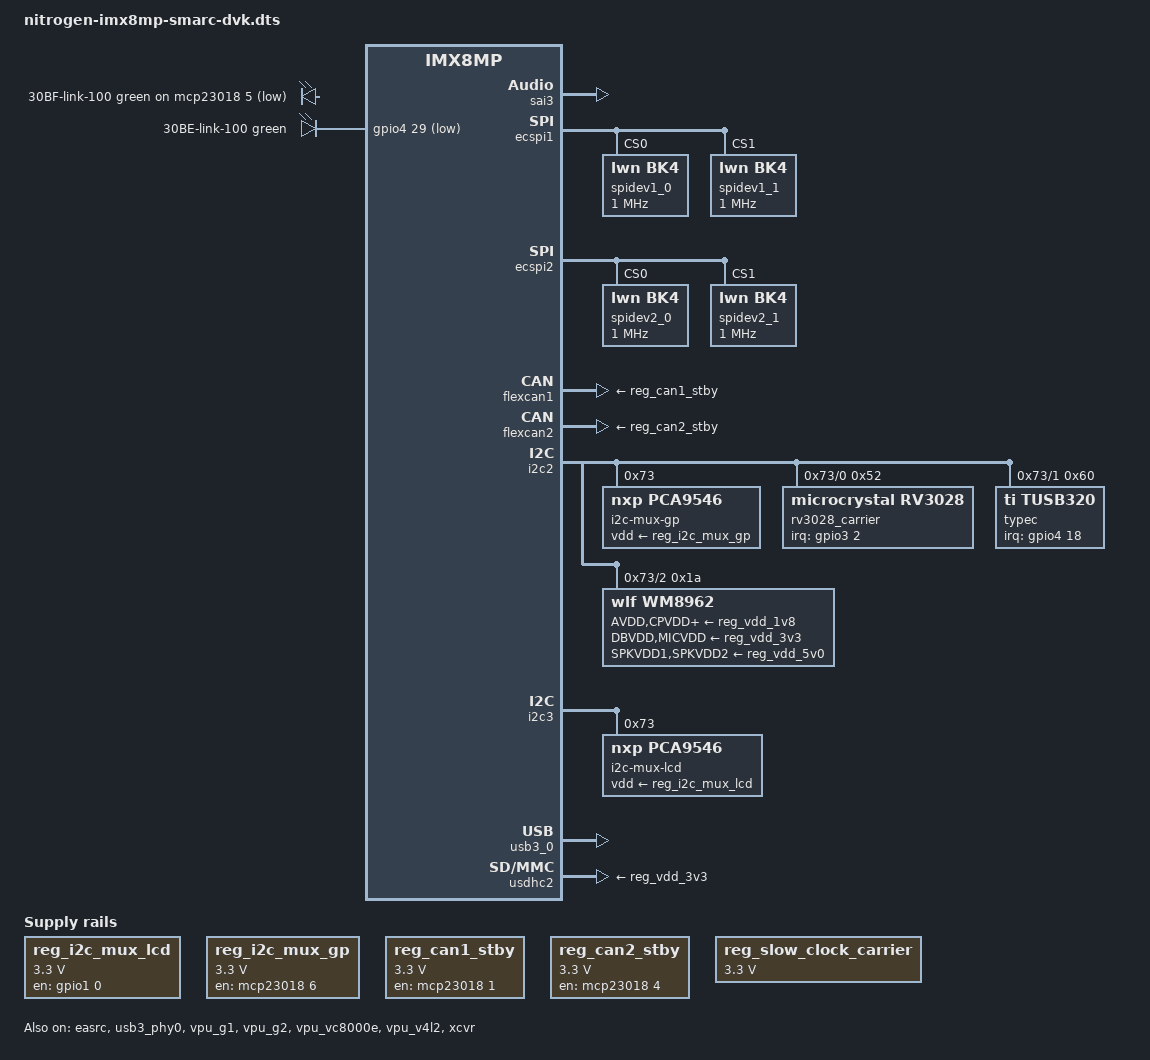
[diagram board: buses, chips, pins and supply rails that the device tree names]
// SPDX-License-Identifier: (GPL-2.0+ OR MIT)
/*
 * Copyright 2023 Ezurio LLC
 */

/dts-v1/;

#include <dt-bindings/usb/pd.h>
#include <dt-bindings/leds/common.h>

#include "nitrogen-imx8mp-smarc.dtsi"

/ {

	aliases {
		rtc0 = &rv3028_carrier;
		rtc1 = &snvs_rtc;
	};

	led-controller {
		compatible = "gpio-leds";
		pinctrl-names = "default";
		pinctrl-0 = <&pinctrl_leds>;

		led-0 {
			label = "30BF-link-100";
			function = LED_FUNCTION_STATUS;
			color = <LED_COLOR_ID_GREEN>;
			gpios = <&mcp23018 5 GPIO_ACTIVE_LOW>;
			default-state = "off";
			linux,default-trigger = "stmmac-0:07:100Mbps";
		};

		led-1 {
			label = "30BE-link-100";
			function = LED_FUNCTION_STATUS;
			color = <LED_COLOR_ID_GREEN>;
			gpios = <&gpio4 29 GPIO_ACTIVE_LOW>;
			default-state = "off";
			linux,default-trigger = "30be0000.ethernet-1:07:100Mbps";
		};
	};

	reg_i2c_mux_lcd: regulator-i2c-mux-lcd {
		compatible = "regulator-fixed";
		regulator-name = "reg_i2c_mux_lcd";

		regulator-min-microvolt = <3300000>;
		regulator-max-microvolt = <3300000>;

		pinctrl-names = "default";
		pinctrl-0 = <&pinctrl_i2c_mux_lcd>;
		gpio = <&gpio1 0 GPIO_ACTIVE_HIGH>;
		enable-active-high;
	};

	reg_i2c_mux_gp: regulator-i2c-mux-gp {
		compatible = "regulator-fixed";
		regulator-name = "reg_i2c_mux_gp";

		regulator-min-microvolt = <3300000>;
		regulator-max-microvolt = <3300000>;

		gpio = <&mcp23018 6 GPIO_ACTIVE_HIGH>;
		enable-active-high;
	};

	reg_can1_stby: regulator-can1-stby {
		compatible = "regulator-fixed";
		regulator-name = "can1-stby";

		regulator-min-microvolt = <3300000>;
		regulator-max-microvolt = <3300000>;

		gpio = <&mcp23018 1 GPIO_ACTIVE_HIGH>;
		enable-active-high;
	};

	reg_can2_stby: regulator-can2-stby {
		compatible = "regulator-fixed";
		regulator-name = "can2-stby";

		regulator-min-microvolt = <3300000>;
		regulator-max-microvolt = <3300000>;

		gpio = <&mcp23018 4 GPIO_ACTIVE_HIGH>;
		enable-active-high;
	};

	reg_slow_clock_carrier: regulator-slow-clock-carrier {
		compatible = "regulator-fixed-clock";

		regulator-name = "reg_slow_clock_carrier";
		regulator-min-microvolt = <3300000>;
		regulator-max-microvolt = <3300000>;

		clocks = <&rv3028_carrier>;

		startup-delay-us = <1000>;
	};

	sound-wm8962 {
		compatible = "fsl,imx-audio-wm8962";
		audio-codec = <&wm8962>;
		audio-cpu = <&sai3>;
		audio-routing =
			"Headphone Jack", "HPOUTL",
			"Headphone Jack", "HPOUTR",
			"Ext Spk", "SPKOUTL",
			"Ext Spk", "SPKOUTR",
			"AMIC", "MICBIAS",
			"IN1R", "AMIC",
			"IN2R", "AMIC",
			"IN3L", "AMIC",
			"IN3R", "AMIC";
		codec-master;
		model = "wm8962-audio";
	};
};

&sai3 {
	status = "okay";
};

&easrc {
	fsl,asrc-rate  = <48000>;
	status = "okay";
};

&ecspi1 {
	status = "okay";

	spidev1_0: spi@0 {
		reg = <0>;
		compatible = "lwn,bk4";
		spi-max-frequency = <1000000>;
	};

	spidev1_1: spi@1 {
		reg = <1>;
		compatible = "lwn,bk4";
		spi-max-frequency = <1000000>;
	};
};

&ecspi2 {
	status = "okay";

	spidev2_0: spi@0 {
		reg = <0>;
		compatible = "lwn,bk4";
		spi-max-frequency = <1000000>;
	};

	spidev2_1: spi@1 {
		reg = <1>;
		compatible = "lwn,bk4";
		spi-max-frequency = <1000000>;
	};
};

&flexcan1 {
	xceiver-supply = <&reg_can1_stby>;
	status = "okay";
};

&flexcan2 {
	xceiver-supply = <&reg_can2_stby>;
	status = "okay";
};

/* I2C_GP */
&i2c2 {
	status = "okay";

	i2c-mux-gp@73 {
		compatible = "nxp,pca9546";
		reg = <0x73>;

		vdd-supply = <&reg_i2c_mux_gp>;

		#address-cells = <1>;
		#size-cells = <0>;

		i2c_gp_a: i2c2@0 {
			reg = <0>;
			#address-cells = <1>;
			#size-cells = <0>;

			rv3028_carrier: rv3028-carrier@52 {
				compatible = "microcrystal,rv3028";
				reg = <0x52>;

				pinctrl-names = "default";
				pinctrl-0 = <&pinctrl_rv3028_carrier>;
				interrupts-extended = <&gpio3 2 IRQ_TYPE_LEVEL_LOW>;
				interrupt-names = "irq";

				wakeup-source;
				backup-switchover-dsm;
				#clock-cells = <0>;
			};
		};

		i2c_gp_b: i2c2@1 {
			reg = <1>;
			#address-cells = <1>;
			#size-cells = <0>;

			typec: typec@60 {
				compatible = "ti,tusb320";
				reg = <0x60>;
				pinctrl-names = "default";
				pinctrl-0 = <&pinctrl_tusb320>;
				interrupts-extended = <&gpio4 18 IRQ_TYPE_LEVEL_LOW>;
			};
		};

		i2c_gp_c: i2c2@2 {
			reg = <2>;
			#address-cells = <1>;
			#size-cells = <0>;

			wm8962: codec@1a {
				#sound-dai-cells = <0>;
				AVDD-supply = <&reg_vdd_1v8>;
				CPVDD-supply = <&reg_vdd_1v8>;
				DBVDD-supply = <&reg_vdd_3v3>;
				DCVDD-supply = <&reg_vdd_1v8>;
				MICVDD-supply = <&reg_vdd_3v3>;
				PLLVDD-supply = <&reg_vdd_1v8>;
				SPKVDD1-supply = <&reg_vdd_5v0>;
				SPKVDD2-supply = <&reg_vdd_5v0>;
				clocks = <&audio_blk_ctrl IMX8MP_CLK_AUDIOMIX_SAI3_MCLK1>;
				compatible = "wlf,wm8962";
				gpio-cfg = <
					0x0000
					0x0000
					0x0000
					0x0000
					0x8081
					0x8095
				>;
				reg = <0x1a>;
			};
		};

		i2c_gp_d: i2c2@3 {
			reg = <3>;
			#address-cells = <1>;
			#size-cells = <0>;
		};
	};
};

/* I2C_LCD */
&i2c3 {
	status = "okay";

	i2c-mux-lcd@73 {
		compatible = "nxp,pca9546";
		reg = <0x73>;

		vdd-supply = <&reg_i2c_mux_lcd>;

		#address-cells = <1>;
		#size-cells = <0>;

		i2c_lcd_a: i2c3@0 {
			/* EDP0 */
			reg = <0>;

			#address-cells = <1>;
			#size-cells = <0>;
		};

		i2c_lcd_b: i2c3@1 {
			/* EDP1 */
			reg = <1>;

			#address-cells = <1>;
			#size-cells = <0>;
		};

		i2c_lcd_c: i2c3@2 {
			/* DSI0 */
			reg = <2>;

			#address-cells = <1>;
			#size-cells = <0>;
		};

		i2c_lcd_d: i2c3@3 {
			/* DSI1 */
			reg = <3>;

			#address-cells = <1>;
			#size-cells = <0>;
		};
	};
};

&iomuxc {
	pinctrl_tusb320: tusb320-grp {
		fsl,pins = <
			MX8MP_IOMUXC_SAI1_TXD6__GPIO4_IO18	0x1c0
		>;
	};

	pinctrl_leds: ledsgrp {
		fsl,pins = <
			MX8MP_IOMUXC_SAI3_RXC__GPIO4_IO29	0x100
		>;
	};

	pinctrl_i2c_mux_lcd: i2c-mux-lcd-grp {
		fsl,pins = <
			MX8MP_IOMUXC_GPIO1_IO00__GPIO1_IO00	0x140
		>;
	};

	pinctrl_rv3028_carrier: rv3028-carrier-grp {
		fsl,pins = <
			MX8MP_IOMUXC_NAND_CE1_B__GPIO3_IO02	0x1c0
		>;
	};
};

&usb3_phy0 {
	status = "okay";
};

&usb3_0 {
	status = "okay";
};

&usb_dwc3_0 {
	extcon = <&typec>;
};

&usdhc2 { /* SDIO - SDCARD */
	status = "okay";

	vmmc-supply = <&reg_vdd_3v3>;

	// SD card power on the carrier board is not connected to control signal, 
	// as such SD card cannot be reset, thus disabling 1.8V
	no-1-8-v;
};

&vpu_g1 {
	status = "okay";
};

&vpu_g2 {
	status = "okay";
};

&vpu_vc8000e {
	status = "okay";
};

&vpu_v4l2 {
	status = "okay";
};

&xcvr {
	#sound-dai-cells = <0>;
	status = "okay";
};
